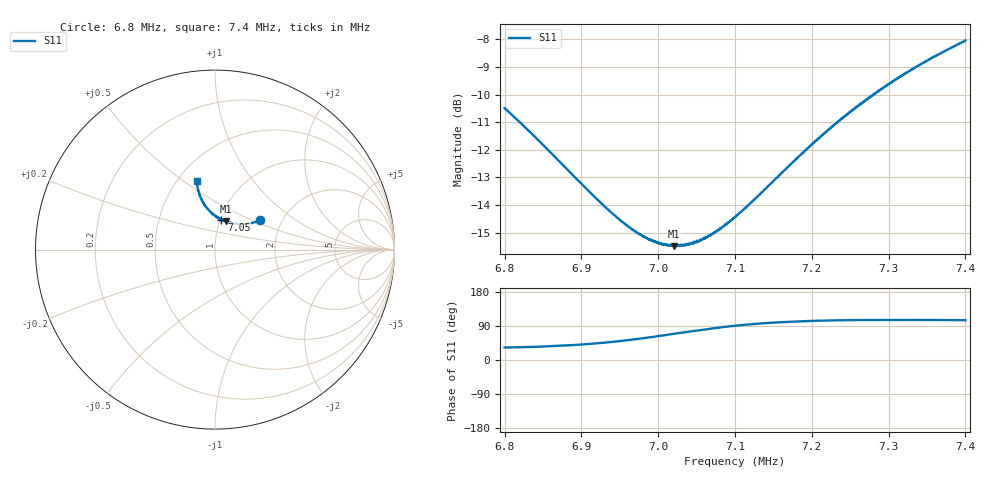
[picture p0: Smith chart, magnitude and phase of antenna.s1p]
! Calibrated three-pass averaged EFHW harmonic sweep
# Hz S RI R 50
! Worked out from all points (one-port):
!   1601 points, 6.8 MHz to 7.4 MHz, reference 50 ohm
!   lowest |S11| = -15.5 dB at 7.021 MHz (marker M1), VSWR 1.40, Z = 53.5 + j17.3 ohm
!   |S11| at or under -10 dB: start of sweep to 7.28 MHz
!   S11 on the Smith chart (normalised r, x): 6.8 MHz: 1.55, +0.55; 7.05 MHz: 1.01, +0.35; 7.4 MHz: 0.62, +0.56
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6800000  0.2506 0.1626
6803375  0.248 0.1615
6826625  0.2286 0.1545
6852875  0.2062 0.1486
6875000  0.187 0.1449
6919625  0.1475 0.1423
6934625  0.1343 0.1426
6950000  0.1208 0.1433
6970250  0.1029 0.1461
6986000  0.0894 0.1489
7004000  0.0741 0.1532
7020500  0.0602 0.1569
7025000  0.0565 0.1592
7036625  0.047 0.1632
7050125  0.0359 0.1673
7058000  0.0301 0.171
7072625  0.0189 0.1771
7086875  0.00836 0.1836
7100000  -0.00151 0.1897
7112750  -0.00962 0.1968
7138250  -0.0262 0.2111
7175000  -0.0467 0.2339
7215125  -0.0649 0.2601
7250000  -0.0773 0.284
7288250  -0.0873 0.3098
7325000  -0.0945 0.3345
7361750  -0.0991 0.3585
7400000  -0.1026 0.3829
